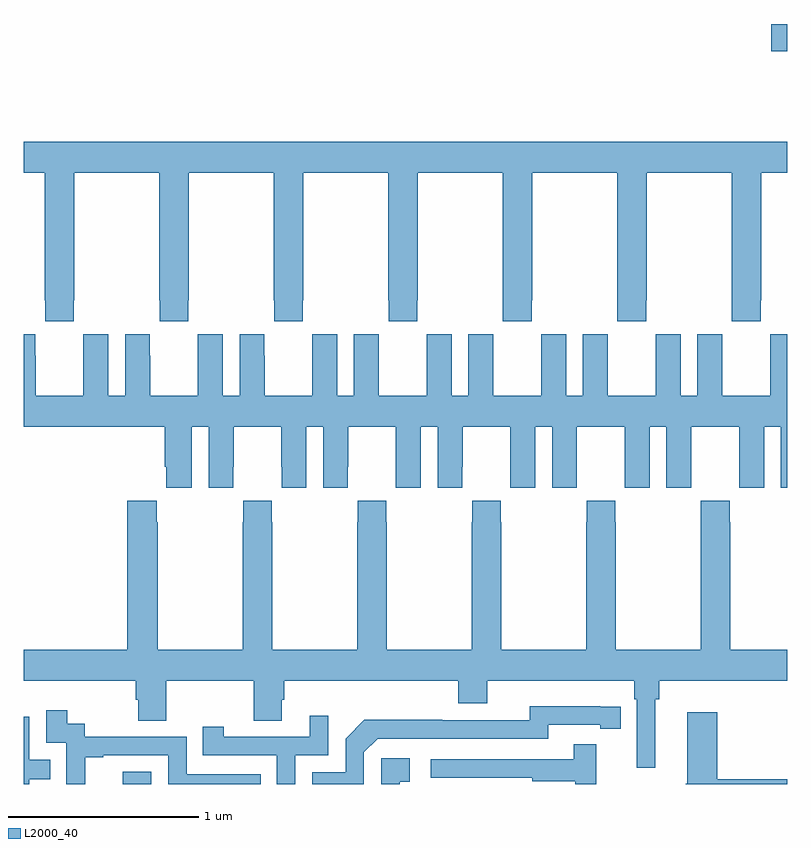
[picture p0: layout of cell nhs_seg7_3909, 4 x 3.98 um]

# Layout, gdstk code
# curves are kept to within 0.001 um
import gdstk
lib = gdstk.Library(unit=1e-6, precision=1e-09)
def R(c, l, rs):  # rectangles x0, y0, x1, y1
    for r in rs: c.add(gdstk.rectangle(r[:2], r[2:], *l))
def P(c, l, *ps):  # polygons
    for p in ps: c.add(gdstk.Polygon(p, *l))
L2000_40 = (2000, 40)

nhs_seg7_3909 = lib.new_cell('nhs_seg7_3909')
R(nhs_seg7_3909, L2000_40, [(357.519,1076,357.666,1076.065), (360.918,1079.842,361,1079.984)])
P(nhs_seg7_3909, L2000_40, [(357.261,1078.537),(357.264,1078.537),(357.264,1079.204),(357.709,1079.204),(357.709,1078.537),(357.711,1078.537),(357.711,1078.425),(357.861,1078.425),(357.861,1078.537),(357.864,1078.537),(357.864,1079.204),(358.309,1079.204),(358.309,1078.537),(358.311,1078.537),(358.311,1078.425),(358.461,1078.425),(358.461,1078.537),(358.464,1078.537),(358.464,1079.204),(358.909,1079.204),(358.909,1078.537),(358.911,1078.537),(358.911,1078.425),(359.061,1078.425),(359.061,1078.537),(359.064,1078.537),(359.064,1079.204),(359.509,1079.204),(359.509,1078.537),(359.511,1078.537),(359.511,1078.425),(359.661,1078.425),(359.661,1078.537),(359.664,1078.537),(359.664,1079.204),(360.109,1079.204),(360.109,1078.537),(360.111,1078.537),(360.111,1078.425),(360.261,1078.425),(360.261,1078.537),(360.264,1078.537),(360.264,1079.204),(360.709,1079.204),(360.709,1078.537),(360.711,1078.537),(360.711,1078.425),(360.861,1078.425),(360.861,1078.537),(360.864,1078.537),(360.864,1079.204),(361,1079.204),(361,1079.368),(357,1079.368),(357,1079.204),(357.109,1079.204),(357.109,1078.537),(357.111,1078.537),(357.111,1078.425),(357.261,1078.425)],
  [(360.749,1077.664),(360.75,1077.664),(360.75,1077.552),(360.88,1077.552),(360.88,1077.872),(360.968,1077.872),(360.968,1077.552),(361,1077.552),(361,1078.357),(360.912,1078.357),(360.912,1078.244),(360.911,1078.244),(360.911,1078.036),(360.661,1078.036),(360.661,1078.244),(360.66,1078.244),(360.66,1078.357),(360.53,1078.357),(360.53,1078.036),(360.442,1078.036),(360.442,1078.357),(360.312,1078.357),(360.312,1078.244),(360.311,1078.244),(360.311,1078.036),(360.061,1078.036),(360.061,1078.244),(360.06,1078.244),(360.06,1078.357),(359.93,1078.357),(359.93,1078.036),(359.842,1078.036),(359.842,1078.357),(359.712,1078.357),(359.712,1078.244),(359.711,1078.244),(359.711,1078.036),(359.461,1078.036),(359.461,1078.244),(359.46,1078.244),(359.46,1078.357),(359.33,1078.357),(359.33,1078.036),(359.242,1078.036),(359.242,1078.357),(359.112,1078.357),(359.112,1078.244),(359.111,1078.244),(359.111,1078.036),(358.861,1078.036),(358.861,1078.244),(358.86,1078.244),(358.86,1078.357),(358.73,1078.357),(358.73,1078.036),(358.642,1078.036),(358.642,1078.357),(358.512,1078.357),(358.512,1078.244),(358.511,1078.244),(358.511,1078.036),(358.261,1078.036),(358.261,1078.244),(358.26,1078.244),(358.26,1078.357),(358.13,1078.357),(358.13,1078.036),(358.042,1078.036),(358.042,1078.357),(357.912,1078.357),(357.912,1078.244),(357.911,1078.244),(357.911,1078.036),(357.661,1078.036),(357.661,1078.244),(357.66,1078.244),(357.66,1078.357),(357.53,1078.357),(357.53,1078.036),(357.442,1078.036),(357.442,1078.357),(357.312,1078.357),(357.312,1078.244),(357.311,1078.244),(357.311,1078.036),(357.061,1078.036),(357.061,1078.244),(357.06,1078.244),(357.06,1078.357),(357,1078.357),(357,1077.872),(357.737,1077.872),(357.737,1077.664),(357.746,1077.664),(357.746,1077.552),(357.88,1077.552),(357.88,1077.872),(357.968,1077.872),(357.968,1077.552),(358.098,1077.552),(358.098,1077.664),(358.099,1077.664),(358.099,1077.872),(358.349,1077.872),(358.349,1077.664),(358.35,1077.664),(358.35,1077.552),(358.48,1077.552),(358.48,1077.872),(358.568,1077.872),(358.568,1077.552),(358.698,1077.552),(358.698,1077.664),(358.699,1077.664),(358.699,1077.872),(358.949,1077.872),(358.949,1077.664),(358.95,1077.664),(358.95,1077.552),(359.08,1077.552),(359.08,1077.872),(359.168,1077.872),(359.168,1077.552),(359.298,1077.552),(359.298,1077.664),(359.299,1077.664),(359.299,1077.872),(359.549,1077.872),(359.549,1077.664),(359.55,1077.664),(359.55,1077.552),(359.68,1077.552),(359.68,1077.872),(359.768,1077.872),(359.768,1077.552),(359.898,1077.552),(359.898,1077.664),(359.899,1077.664),(359.899,1077.872),(360.149,1077.872),(360.149,1077.664),(360.15,1077.664),(360.15,1077.552),(360.28,1077.552),(360.28,1077.872),(360.368,1077.872),(360.368,1077.552),(360.498,1077.552),(360.498,1077.664),(360.499,1077.664),(360.499,1077.872),(360.749,1077.872)],
  [(360.31,1076.444),(360.329,1076.444),(360.329,1076.54),(361,1076.54),(361,1076.704),(360.702,1076.704),(360.702,1077.371),(360.699,1077.371),(360.699,1077.484),(360.549,1077.484),(360.549,1077.371),(360.547,1077.371),(360.547,1076.704),(360.102,1076.704),(360.102,1077.371),(360.099,1077.371),(360.099,1077.484),(359.949,1077.484),(359.949,1077.371),(359.947,1077.371),(359.947,1076.704),(359.502,1076.704),(359.502,1077.371),(359.499,1077.371),(359.499,1077.484),(359.349,1077.484),(359.349,1077.371),(359.347,1077.371),(359.347,1076.704),(358.902,1076.704),(358.902,1077.371),(358.899,1077.371),(358.899,1077.484),(358.749,1077.484),(358.749,1077.371),(358.747,1077.371),(358.747,1076.704),(358.302,1076.704),(358.302,1077.371),(358.299,1077.371),(358.299,1077.484),(358.149,1077.484),(358.149,1077.371),(358.147,1077.371),(358.147,1076.704),(357.702,1076.704),(357.702,1077.371),(357.695,1077.371),(357.695,1077.484),(357.542,1077.484),(357.542,1076.704),(357,1076.704),(357,1076.54),(357.587,1076.54),(357.587,1076.442),(357.599,1076.442),(357.599,1076.332),(357.747,1076.332),(357.747,1076.54),(358.204,1076.54),(358.204,1076.332),(358.351,1076.332),(358.351,1076.442),(358.364,1076.442),(358.364,1076.54),(359.276,1076.54),(359.276,1076.423),(359.428,1076.423),(359.428,1076.54),(360.2,1076.54),(360.2,1076.444),(360.213,1076.444),(360.213,1076.085),(360.31,1076.085)],
  [(358.782,1076.166),(358.854,1076.238),(359.748,1076.238),(359.748,1076.31),(360.02,1076.31),(360.02,1076.29),(360.128,1076.29),(360.128,1076.406),(359.652,1076.407),(359.652,1076.334),(359.192,1076.334),(359.192,1076.336),(358.784,1076.336),(358.686,1076.238),(358.686,1076.061),(358.512,1076.061),(358.512,1076),(358.782,1076)],
  [(357.32,1076.139),(357.415,1076.139),(357.415,1076.151),(357.756,1076.151),(357.756,1076),(358.241,1076),(358.241,1076.052),(357.852,1076.052),(357.852,1076.247),(357.318,1076.247),(357.318,1076.316),(357.226,1076.316),(357.226,1076.386),(357.117,1076.386),(357.117,1076.217),(357.222,1076.217),(357.222,1076),(357.32,1076)],
  [(361,1076.024),(360.635,1076.024),(360.635,1076.377),(360.476,1076.377),(360.476,1076.001),(360.469,1076.001),(360.469,1076),(361,1076)],
  [(358.422,1076.151),(358.596,1076.151),(358.596,1076.359),(358.499,1076.359),(358.499,1076.247),(358.048,1076.247),(358.048,1076.299),(357.937,1076.299),(357.937,1076.151),(358.326,1076.151),(358.326,1076),(358.422,1076)],
  [(357.027,1076.026),(357.137,1076.026),(357.137,1076.127),(357.027,1076.127),(357.027,1076.352),(357,1076.352),(357,1076),(357.027,1076)],
  [(359.999,1076.209),(359.881,1076.209),(359.881,1076.13),(359.133,1076.13),(359.133,1076.034),(359.665,1076.034),(359.665,1076.014),(359.889,1076.014),(359.889,1076),(359.999,1076)],
  [(358.97,1076.013),(359.023,1076.013),(359.023,1076.134),(358.872,1076.134),(358.872,1076),(358.97,1076)])

lib.write_gds('nhs_seg7_3909.gds')
